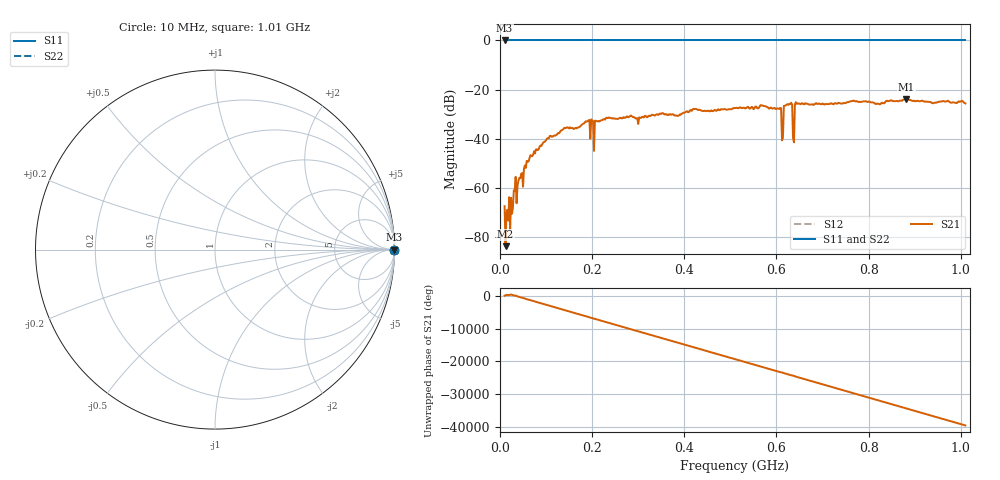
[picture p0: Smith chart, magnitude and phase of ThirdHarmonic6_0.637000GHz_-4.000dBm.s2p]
! 8/15/2025 9:02:50 PM
! C:\ANRITSUVNA\TEMP\TEMP.S2P
! CHANNEL.1
! TR.MEASUREMENT
! RAW.DATA
! RF.CORRECTION.OFF
! AVERAGING.OFF
! IF.BANDWIDTH: 5KHZ
! SWEEPTYPE:  FREQ.SWEEP(Linear)
! Reference Plane Port Info
! PORT:  PORT1  PORT2
! DISTANCE:  0  m  0  m
! TIME:  0  s  0  s
! PHASE.OFFSET:  0  deg.  0  deg.
! LOSS:  0  dB  0  dB
! REF.LOSS:  0  dB  0  dB
! REF.FREQ:  0  Hz  0  Hz
! Power Info
! POWER:  -20  dBm  -20  dBm
! EFF.POWER:  -20  dBm  -20  dBm
! SOURCE.ATTEN:  0  dB  0  dB
! TEST.ATTEN:  0  dB  0  dB
# GHZ S RI R 50.0
! FREQ.GHZ  S11RE  S11IM  S21RE  S21IM  S12RE  S12IM  S22RE  S22IM
!; PortSelection: Port_12
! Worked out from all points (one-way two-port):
!   501 points, 10 MHz to 1.01 GHz, reference 50 ohm
!   highest |S21| = -23.97 dB at 882 MHz (marker M1); lowest = -83.8 dB at 12 MHz (marker M2)
!   lowest |S11| = 0.0 dB at 10 MHz (marker M3)
!   |S11| at or under -10 dB: nowhere
!   |S22| runs from 0.0 to 0.0 dB; largest |S21 - S12| = 1.1
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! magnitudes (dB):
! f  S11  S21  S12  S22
! 10 MHz  0.0  -67.5  0.0  0.0
! 12 MHz  0.0  -83.8  0.0  0.0
! 26 MHz  0.0  -70.5  0.0  0.0
! 44 MHz  0.0  -56.1  0.0  0.0
! 70 MHz  0.0  -47.1  0.0  0.0
! 106 MHz  0.0  -39.9  0.0  0.0
! 178 MHz  0.0  -34.3  0.0  0.0
! 200 MHz  0.0  -32.5  0.0  0.0
! 344 MHz  0.0  -30.3  0.0  0.0
! 510 MHz  0.0  -27.5  0.0  0.0
! 606 MHz  0.0  -27.9  0.0  0.0
! 610 MHz  0.0  -27.6  0.0  0.0
! 616 MHz  0.0  -26.7  0.0  0.0
! 620 MHz  0.0  -26.5  0.0  0.0
! 630 MHz  0.0  -25.8  0.0  0.0
! 636 MHz  0.0  -39.7  0.0  0.0
! 640 MHz  0.0  -26.1  0.0  0.0
! 644 MHz  0.0  -25.8  0.0  0.0
! 678 MHz  0.0  -26.0  0.0  0.0
! 844 MHz  0.0  -24.7  0.0  0.0
! 882 MHz  0.0  -24.0  0.0  0.0
! 1.01 GHz  0.0  -25.6  0.0  0.0
